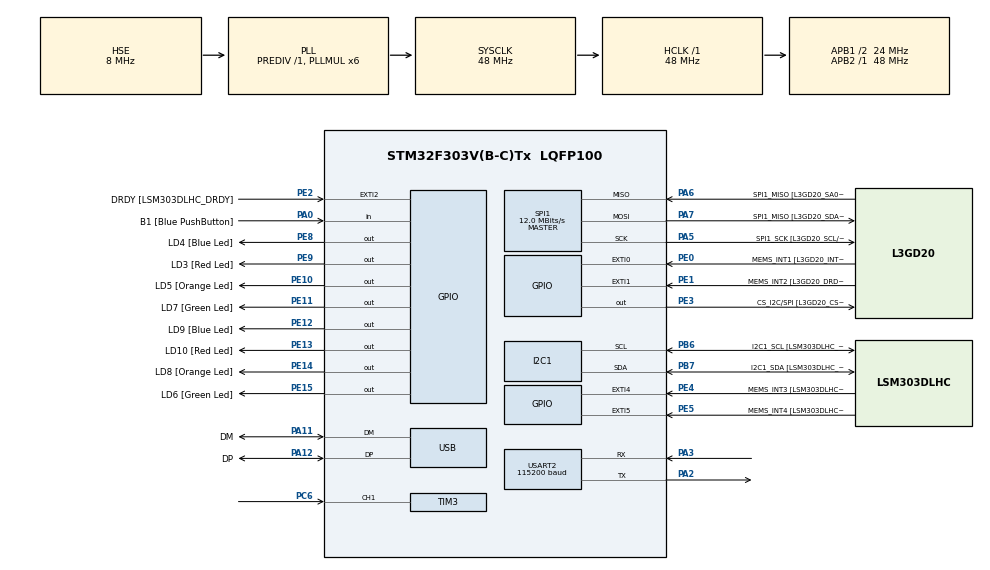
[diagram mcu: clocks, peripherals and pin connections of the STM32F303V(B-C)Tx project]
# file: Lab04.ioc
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I2C1.Timing=0x00201D2B
I2C1.Timing-I2C=0x2000090E
Mcu.Family=STM32F3
Mcu.Name=STM32F303V(B-C)Tx
Mcu.Package=LQFP100
NVIC.PriorityGroup=NVIC_PRIORITYGROUP_0
NVIC.TIM2_IRQn=true\:0\:0\:false\:false\:true\:true\:true\:true
NVIC.TIM3_IRQn=true\:0\:0\:false\:false\:true\:true\:true\:true
PA0.GPIO_Label=B1 [Blue PushButton]
PA0.Signal=GPIO_Input
PA11.GPIO_Label=DM
PA11.Mode=Device
PA11.Signal=USB_DM
PA12.GPIO_Label=DP
PA12.Mode=Device
PA12.Signal=USB_DP
PA13.GPIO_Label=SWDIO
PA13.Mode=Serial_Wire
PA13.Signal=SYS_JTMS-SWDIO
PA14.GPIO_Label=SWCLK
PA14.Mode=Serial_Wire
PA14.Signal=SYS_JTCK-SWCLK
PA2.Mode=Asynchronous
PA2.Signal=USART2_TX
PA3.Mode=Asynchronous
PA3.Signal=USART2_RX
PA5.GPIO_Label=SPI1_SCK [L3GD20_SCL/SPC]
PA5.Mode=Full_Duplex_Master
PA5.Signal=SPI1_SCK
PA6.GPIO_Label=SPI1_MISO [L3GD20_SA0/SDO]
PA6.Mode=Full_Duplex_Master
PA6.Signal=SPI1_MISO
PA7.GPIO_Label=SPI1_MISO [L3GD20_SDA/SDI/SDO]
PA7.Mode=Full_Duplex_Master
PA7.Signal=SPI1_MOSI
PB3.GPIO_Label=SWO
PB3.Signal=SYS_JTDO-TRACESWO
PB6.GPIO_Label=I2C1_SCL [LSM303DLHC_SCL]
PB6.GPIO_Pu=GPIO_PULLUP
PB6.Mode=I2C
PB6.Signal=I2C1_SCL
PB7.GPIO_Label=I2C1_SDA [LSM303DLHC_SDA]
PB7.GPIO_Pu=GPIO_PULLUP
PB7.Mode=I2C
PB7.Signal=I2C1_SDA
PC14-OSC32_IN.GPIO_Label=OSC32_IN
PC14-OSC32_IN.Signal=RCC_OSC32_IN
PC15-OSC32_OUT.GPIO_Label=OSC32_OUT
PC15-OSC32_OUT.Signal=RCC_OSC32_OUT
PC6.Signal=S_TIM3_CH1
PE0.GPIO_Label=MEMS_INT1 [L3GD20_INT1]
PE0.GPIO_ModeDefaultEXTI=GPIO_MODE_EVT_RISING
PE0.Signal=GPXTI0
PE1.GPIO_Label=MEMS_INT2 [L3GD20_DRDY/INT2]
PE1.GPIO_ModeDefaultEXTI=GPIO_MODE_EVT_RISING
PE1.Signal=GPXTI1
PE10.GPIO_Label=LD5 [Orange Led]
PE10.Signal=GPIO_Output
PE11.GPIO_Label=LD7 [Green Led]
PE11.Signal=GPIO_Output
PE12.GPIO_Label=LD9 [Blue Led]
PE12.Signal=GPIO_Output
PE13.GPIO_Label=LD10 [Red Led]
PE13.Signal=GPIO_Output
PE14.GPIO_Label=LD8 [Orange Led]
PE14.Signal=GPIO_Output
PE15.GPIO_Label=LD6 [Green Led]
PE15.Signal=GPIO_Output
PE2.GPIO_Label=DRDY [LSM303DLHC_DRDY]
PE2.GPIO_ModeDefaultEXTI=GPIO_MODE_EVT_RISING
PE2.Signal=GPXTI2
PE3.GPIO_Label=CS_I2C/SPI [L3GD20_CS_I2C/SPI]
PE3.Signal=GPIO_Output
PE4.GPIO_Label=MEMS_INT3 [LSM303DLHC_INT1]
PE4.GPIO_ModeDefaultEXTI=GPIO_MODE_EVT_RISING
PE4.Signal=GPXTI4
PE5.GPIO_Label=MEMS_INT4 [LSM303DLHC_INT2]
PE5.GPIO_ModeDefaultEXTI=GPIO_MODE_EVT_RISING
PE5.Signal=GPXTI5
PE8.GPIO_Label=LD4 [Blue Led]
PE8.Signal=GPIO_Output
PE9.GPIO_Label=LD3 [Red Led]
PE9.Signal=GPIO_Output
PF0-OSC_IN.GPIO_Label=OSC_IN
PF0-OSC_IN.Mode=HSE-External-Clock-Source
PF0-OSC_IN.Signal=RCC_OSC_IN
PF1-OSC_OUT.GPIO_Label=OSC_OUT
PF1-OSC_OUT.Signal=RCC_OSC_OUT
ProjectManager.HeapSize=0x200
ProjectManager.StackSize=0x400
ProjectManager.TargetToolchain=CMake
RCC.AHBFreq_Value=48000000
RCC.APB1CLKDivider=RCC_HCLK_DIV2
RCC.APB1Freq_Value=24000000
RCC.APB1TimFreq_Value=48000000
RCC.APB2Freq_Value=48000000
RCC.APB2TimFreq_Value=48000000
RCC.CortexFreq_Value=48000000
RCC.HCLKFreq_Value=48000000
RCC.HSE_VALUE=8000000
RCC.HSI_VALUE=8000000
RCC.LSE_VALUE=32768
RCC.PLLMUL=RCC_PLL_MUL6
RCC.SYSCLKFreq_VALUE=48000000
RCC.SYSCLKSourceVirtual=RCC_SYSCLKSOURCE_PLLCLK
RCC.USBFreq_Value=48000000
SH.S_TIM3_CH1.0=TIM3_CH1,Input_Capture1_from_TI1
SPI1.BaudRatePrescaler=SPI_BAUDRATEPRESCALER_4
SPI1.BaudRatePrescaler-Full_Duplex_Master=SPI_BAUDRATEPRESCALER_2
SPI1.CalculateBaudRate=12.0 MBits/s
SPI1.CalculateBaudRate-Full_Duplex_Master=24.0 MBits/s
SPI1.Direction=SPI_DIRECTION_2LINES
SPI1.Mode=SPI_MODE_MASTER
SPI1.Mode-Full_Duplex_Master=SPI_MODE_MASTER
SPI1.VirtualType=VM_MASTER
TIM2.Period=0
TIM2.Prescaler=47999
TIM3.Channel-Input_Capture1_from_TI1=TIM_CHANNEL_1
TIM3.Period=0xFFFF
TIM3.Prescaler=0
USART2.BaudRate=115200
USART2.VirtualMode-Asynchronous=VM_ASYNC
VP_TIM2_VS_ClockSourceINT.Mode=Internal
board=STM32F3DISCOVERY

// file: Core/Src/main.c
/* USER CODE BEGIN Header */
/**
  ******************************************************************************
  * @file           : main.c
  * @brief          : Main program body
  ******************************************************************************
  * @attention
  *
  * Copyright (c) 2026 STMicroelectronics. All rights reserved.
  * This software is licensed under terms in LICENSE file.
  *
  ******************************************************************************
  */
/* USER CODE END Header */
#include "main.h"

/* USER CODE BEGIN Includes */
#include <stdio.h>
#include <string.h>

/* NOTE: If you want to use %.2f formatting for floats in sprintf:
 * Go to Project Properties -> C/C++ Build -> Settings -> MCU Settings
 * Check "Use float with printf from newlib-nano"
 * This will increase code size by ~8KB
 *
 * Alternative: Use the integer conversion method shown in this code
 *
 * IMPORTANT FOR INPUT CAPTURE:
 * To reduce noise on the input signal:
 * 1. In CubeMX, set TIM3 Channel 1 Input Capture Filter to 8 or 15
 * 2. This filters out glitches shorter than N timer clock cycles
 * 3. Or add a hardware capacitor (e.g., 100nF) on the input pin
 */
/* USER CODE END Includes */

I2C_HandleTypeDef hi2c1;

SPI_HandleTypeDef hspi1;

TIM_HandleTypeDef htim2;
TIM_HandleTypeDef htim3;

UART_HandleTypeDef huart2;

PCD_HandleTypeDef hpcd_USB_FS;

/* USER CODE BEGIN PV */
/* -------------------- TASK 3: 3 LEDs at different rates -------------------- */
// uint16_t countA = 0;  // LED1 (Red, PE9)
// uint16_t countB = 0;  // LED2 (Green, PE10)
// uint16_t countC = 0;  // LED3 (Blue, PE11)

// #define THRESHOLD_A 500   // 1 Hz → toggle every 500 ms
// #define THRESHOLD_B 200   // 2.5 Hz → toggle every 200 ms
// #define THRESHOLD_C 100   // 5 Hz → toggle every 100 ms
/* -------------------------------------------------------------------------- */

/* -------------------- TASK 4: Frequency Measurement -------------------- */
uint32_t last_capture = 0;
uint32_t period = 0;
float frequency = 0.0;
uint8_t overflow_count = 0;
uint8_t valid_measurement = 0;
uint8_t measurement_count = 0;  // Counter to reduce UART transmissions

// Timer clock frequency calculation:
// APB1 clock = 24 MHz, but timer clock = APB1 × 2 = 48 MHz (due to APB prescaler rule)
// TIM3 Prescaler = 1 (set in CubeMX), so effective divider = Prescaler + 1 = 2
// Effective Timer Clock = 48 MHz / 2 = 24 MHz
#define TIMER_CLOCK_FREQ 48000000  // Base timer clock (before prescaler)
#define TIM3_PRESCALER 1            // Prescaler value (set in CubeMX)

char uart_buffer[100];
/* -------------------------------------------------------------------------- */

/* USER CODE END PV */

void SystemClock_Config(void);
static void MX_GPIO_Init(void);
static void MX_I2C1_Init(void);
static void MX_SPI1_Init(void);
static void MX_TIM2_Init(void);
static void MX_USB_PCD_Init(void);
static void MX_TIM3_Init(void);
static void MX_USART2_UART_Init(void);

/* USER CODE BEGIN 0 */

/* -------------------- TASK 1: Custom Delay Function -----------------------------
void delay_ms(uint32_t ms){
    __HAL_TIM_SET_COUNTER(&htim2, 0);
    HAL_TIM_Base_Start(&htim2);
    while (__HAL_TIM_GET_COUNTER(&htim2) < ms);
    HAL_TIM_Base_Stop(&htim2);
}
---------------------------------------------------------------------------*/

/* -------------------- TASK 2: Simple LED Toggle with Timer Interrupt---------------------
void HAL_TIM_PeriodElapsedCallback(TIM_HandleTypeDef *htim)
{
    if(htim->Instance == TIM2)
    {
        HAL_GPIO_TogglePin(GPIOE, GPIO_PIN_9); // Red LED
    }
}
---------------------------------------------------------------------------*/

/* -------------------- TASK 3: Multiple LEDs at Different Rates------------- */
// void HAL_TIM_PeriodElapsedCallback(TIM_HandleTypeDef *htim)
// {
//     if(htim->Instance == TIM2)
//     {
//         // Increment software counters
//         countA++;
//         countB++;
//         countC++;

//         // LED1: PE9 (Red)
//         if(countA >= THRESHOLD_A)
//         {
//             HAL_GPIO_TogglePin(GPIOE, GPIO_PIN_9);
//             countA = 0;
//         }

//         // LED2: PE10 (Green)
//         if(countB >= THRESHOLD_B)
//         {
//             HAL_GPIO_TogglePin(GPIOE, GPIO_PIN_10);
//             countB = 0;
//         }

//         // LED3: PE11 (Blue)
//         if(countC >= THRESHOLD_C)
//         {
//             HAL_GPIO_TogglePin(GPIOE, GPIO_PIN_11);
//             countC = 0;
//         }
//     }
// }
/* -------------------------------------------------------------------------- */

/* -------------------------------TASK 4: Frequency Measurement--------------------------------------- */

/**
  * @brief  Input Capture callback for frequency measurement
  * @param  htim: Timer handle
  * @retval None
  */
void HAL_TIM_IC_CaptureCallback(TIM_HandleTypeDef *htim)
{
    if(htim->Instance == TIM3)
    {
        if(htim->Channel == HAL_TIM_ACTIVE_CHANNEL_1)
        {
            // Read the captured value
            uint32_t current_capture = HAL_TIM_ReadCapturedValue(htim, TIM_CHANNEL_1);

            // Calculate period (handle overflow)
            if(current_capture >= last_capture)
            {
                period = current_capture - last_capture;
            }
            else
            {
                // Timer overflow occurred
                period = (0xFFFF - last_capture) + current_capture + 1;
            }

            // Update last capture value
            last_capture = current_capture;

            // Calculate frequency
            // Frequency = Timer_Clock / [(Prescaler + 1) × Period]
            if(period > 0)
            {
                frequency = (float)TIMER_CLOCK_FREQ / ((float)(TIM3_PRESCALER + 1) * (float)period);
                valid_measurement = 1;
            }

            // Reset overflow counter
            overflow_count = 0;
        }
    }
}

/**
  * @brief  Timer overflow callback to detect very slow signals
  * @param  htim: Timer handle
  * @retval None
  */
void HAL_TIM_PeriodElapsedCallback(TIM_HandleTypeDef *htim)
{
    if(htim->Instance == TIM3)
    {
        overflow_count++;

        // If too many overflows, signal is too slow or not present
        if(overflow_count > 10)
        {
            frequency = 0.0;
            period = 0;
            valid_measurement = 0;
        }
    }
}

/* -------------------------------------------------------------------------- */

/* USER CODE END 0 */

int main(void)
{

  /* MCU Configuration--------------------------------------------------------*/

  /* Reset of all peripherals, Initializes the Flash interface and the Systick. */
  HAL_Init();

  /* Configure the system clock */
  SystemClock_Config();

  /* Initialize all configured peripherals */
  MX_GPIO_Init();
  MX_I2C1_Init();
  MX_SPI1_Init();
  MX_TIM2_Init();
  MX_USB_PCD_Init();
  MX_TIM3_Init();
  MX_USART2_UART_Init();
  /* USER CODE BEGIN 2 */

  /* -------------------- TASK 4: Start Input Capture Timer -------------------- */
  HAL_TIM_IC_Start_IT(&htim3, TIM_CHANNEL_1);
  HAL_TIM_Base_Start_IT(&htim3);

  // Initialization message — no variables here, just a string
  sprintf(uart_buffer, "Frequency Measurement Started\r\n");
  HAL_UART_Transmit(&huart2, (uint8_t*)uart_buffer, strlen(uart_buffer), HAL_MAX_DELAY);
  /* -------------------------------------------------------------------------- */

  /* USER CODE END 2 */

  /* Infinite loop */
  while (1)
  {

    /* USER CODE BEGIN 3 */

    /* -------------------- TASK 4: Display Frequency Measurement -------------------- */
    if(valid_measurement)
    {
        measurement_count++;

        // At high frequencies, only transmit every Nth measurement to avoid blocking
        // Adjust this value: 1 = transmit every time, 10 = every 10th measurement
        uint8_t transmit_interval = 1;

        // Adaptive transmission rate based on frequency
        if(frequency > 100000) {
            transmit_interval = 100;  // Every 100th measurement above 100kHz
        } else if(frequency > 10000) {
            transmit_interval = 10;   // Every 10th measurement above 10kHz
        }

        if(measurement_count >= transmit_interval)
        {
            measurement_count = 0;

            // Convert frequency to integer and decimal parts for display
            uint32_t freq_int = (uint32_t)frequency;
            uint32_t freq_dec = (uint32_t)((frequency - freq_int) * 100);

            // Send frequency data via UART
            sprintf(uart_buffer, "Period: %lu ticks, Frequency: %lu.%02lu Hz\r\n",
                    period, freq_int, freq_dec);
            HAL_UART_Transmit(&huart2, (uint8_t*)uart_buffer, strlen(uart_buffer), HAL_MAX_DELAY);

            // Optional: Toggle LED to indicate measurement
            HAL_GPIO_TogglePin(GPIOE, GPIO_PIN_9);  // Red LED
        }

        // Reset flag (IMPORTANT: do this last, after transmission)
        valid_measurement = 0;
    }

    // No delay here - continuous monitoring
    /* -------------------------------------------------------------------------- */
  }
  /* USER CODE END 3 */
}

void SystemClock_Config(void)
{
  RCC_OscInitTypeDef RCC_OscInitStruct = {0};
  RCC_ClkInitTypeDef RCC_ClkInitStruct = {0};
  RCC_PeriphCLKInitTypeDef PeriphClkInit = {0};

  /** Initializes the RCC Oscillators according to the specified parameters
  * in the RCC_OscInitTypeDef structure.
  */
  RCC_OscInitStruct.OscillatorType = RCC_OSCILLATORTYPE_HSI|RCC_OSCILLATORTYPE_HSE;
  RCC_OscInitStruct.HSEState = RCC_HSE_BYPASS;
  RCC_OscInitStruct.HSEPredivValue = RCC_HSE_PREDIV_DIV1;
  RCC_OscInitStruct.HSIState = RCC_HSI_ON;
  RCC_OscInitStruct.HSICalibrationValue = RCC_HSICALIBRATION_DEFAULT;
  RCC_OscInitStruct.PLL.PLLState = RCC_PLL_ON;
  RCC_OscInitStruct.PLL.PLLSource = RCC_PLLSOURCE_HSE;
  RCC_OscInitStruct.PLL.PLLMUL = RCC_PLL_MUL6;
  if (HAL_RCC_OscConfig(&RCC_OscInitStruct) != HAL_OK)
  {
    Error_Handler();
  }

  /** Initializes the CPU, AHB and APB buses clocks
  */
  RCC_ClkInitStruct.ClockType = RCC_CLOCKTYPE_HCLK|RCC_CLOCKTYPE_SYSCLK
                              |RCC_CLOCKTYPE_PCLK1|RCC_CLOCKTYPE_PCLK2;
  RCC_ClkInitStruct.SYSCLKSource = RCC_SYSCLKSOURCE_PLLCLK;
  RCC_ClkInitStruct.AHBCLKDivider = RCC_SYSCLK_DIV1;
  RCC_ClkInitStruct.APB1CLKDivider = RCC_HCLK_DIV2;
  RCC_ClkInitStruct.APB2CLKDivider = RCC_HCLK_DIV1;

  if (HAL_RCC_ClockConfig(&RCC_ClkInitStruct, FLASH_LATENCY_1) != HAL_OK)
  {
    Error_Handler();
  }
  PeriphClkInit.PeriphClockSelection = RCC_PERIPHCLK_USB|RCC_PERIPHCLK_USART2
                              |RCC_PERIPHCLK_I2C1;
  PeriphClkInit.Usart2ClockSelection = RCC_USART2CLKSOURCE_PCLK1;
  PeriphClkInit.I2c1ClockSelection = RCC_I2C1CLKSOURCE_HSI;
  PeriphClkInit.USBClockSelection = RCC_USBCLKSOURCE_PLL;
  if (HAL_RCCEx_PeriphCLKConfig(&PeriphClkInit) != HAL_OK)
  {
    Error_Handler();
  }
}

static void MX_I2C1_Init(void)
{

  hi2c1.Instance = I2C1;
  hi2c1.Init.Timing = 0x00201D2B;
  hi2c1.Init.OwnAddress1 = 0;
  hi2c1.Init.AddressingMode = I2C_ADDRESSINGMODE_7BIT;
  hi2c1.Init.DualAddressMode = I2C_DUALADDRESS_DISABLE;
  hi2c1.Init.OwnAddress2 = 0;
  hi2c1.Init.OwnAddress2Masks = I2C_OA2_NOMASK;
  hi2c1.Init.GeneralCallMode = I2C_GENERALCALL_DISABLE;
  hi2c1.Init.NoStretchMode = I2C_NOSTRETCH_DISABLE;
  if (HAL_I2C_Init(&hi2c1) != HAL_OK)
  {
    Error_Handler();
  }

  /** Configure Analogue filter
  */
  if (HAL_I2CEx_ConfigAnalogFilter(&hi2c1, I2C_ANALOGFILTER_ENABLE) != HAL_OK)
  {
    Error_Handler();
  }

  /** Configure Digital filter
  */
  if (HAL_I2CEx_ConfigDigitalFilter(&hi2c1, 0) != HAL_OK)
  {
    Error_Handler();
  }

}

static void MX_SPI1_Init(void)
{

  /* SPI1 parameter configuration*/
  hspi1.Instance = SPI1;
  hspi1.Init.Mode = SPI_MODE_MASTER;
  hspi1.Init.Direction = SPI_DIRECTION_2LINES;
  hspi1.Init.DataSize = SPI_DATASIZE_4BIT;
  hspi1.Init.CLKPolarity = SPI_POLARITY_LOW;
  hspi1.Init.CLKPhase = SPI_PHASE_1EDGE;
  hspi1.Init.NSS = SPI_NSS_SOFT;
  hspi1.Init.BaudRatePrescaler = SPI_BAUDRATEPRESCALER_4;
  hspi1.Init.FirstBit = SPI_FIRSTBIT_MSB;
  hspi1.Init.TIMode = SPI_TIMODE_DISABLE;
  hspi1.Init.CRCCalculation = SPI_CRCCALCULATION_DISABLE;
  hspi1.Init.CRCPolynomial = 7;
  hspi1.Init.CRCLength = SPI_CRC_LENGTH_DATASIZE;
  hspi1.Init.NSSPMode = SPI_NSS_PULSE_ENABLE;
  if (HAL_SPI_Init(&hspi1) != HAL_OK)
  {
    Error_Handler();
  }

}

static void MX_TIM2_Init(void)
{

  TIM_ClockConfigTypeDef sClockSourceConfig = {0};
  TIM_MasterConfigTypeDef sMasterConfig = {0};

  htim2.Instance = TIM2;
  htim2.Init.Prescaler = 47999;
  htim2.Init.CounterMode = TIM_COUNTERMODE_UP;
  htim2.Init.Period = 0;
  htim2.Init.ClockDivision = TIM_CLOCKDIVISION_DIV1;
  htim2.Init.AutoReloadPreload = TIM_AUTORELOAD_PRELOAD_DISABLE;
  if (HAL_TIM_Base_Init(&htim2) != HAL_OK)
  {
    Error_Handler();
  }
  sClockSourceConfig.ClockSource = TIM_CLOCKSOURCE_INTERNAL;
  if (HAL_TIM_ConfigClockSource(&htim2, &sClockSourceConfig) != HAL_OK)
  {
    Error_Handler();
  }
  sMasterConfig.MasterOutputTrigger = TIM_TRGO_RESET;
  sMasterConfig.MasterSlaveMode = TIM_MASTERSLAVEMODE_DISABLE;
  if (HAL_TIMEx_MasterConfigSynchronization(&htim2, &sMasterConfig) != HAL_OK)
  {
    Error_Handler();
  }

}

static void MX_TIM3_Init(void)
{

  TIM_MasterConfigTypeDef sMasterConfig = {0};
  TIM_IC_InitTypeDef sConfigIC = {0};

  htim3.Instance = TIM3;
  htim3.Init.Prescaler = 1;  // Changed to 1 for extended range
  htim3.Init.CounterMode = TIM_COUNTERMODE_UP;
  htim3.Init.Period = 0xFFFF;
  htim3.Init.ClockDivision = TIM_CLOCKDIVISION_DIV1;
  htim3.Init.AutoReloadPreload = TIM_AUTORELOAD_PRELOAD_DISABLE;
  if (HAL_TIM_IC_Init(&htim3) != HAL_OK)
  {
    Error_Handler();
  }
  sMasterConfig.MasterOutputTrigger = TIM_TRGO_RESET;
  sMasterConfig.MasterSlaveMode = TIM_MASTERSLAVEMODE_DISABLE;
  if (HAL_TIMEx_MasterConfigSynchronization(&htim3, &sMasterConfig) != HAL_OK)
  {
    Error_Handler();
  }
  sConfigIC.ICPolarity = TIM_INPUTCHANNELPOLARITY_RISING;
  sConfigIC.ICSelection = TIM_ICSELECTION_DIRECTTI;
  sConfigIC.ICPrescaler = TIM_ICPSC_DIV1;
  sConfigIC.ICFilter = 0;
  if (HAL_TIM_IC_ConfigChannel(&htim3, &sConfigIC, TIM_CHANNEL_1) != HAL_OK)
  {
    Error_Handler();
  }

}

static void MX_USART2_UART_Init(void)
{

  huart2.Instance = USART2;
  huart2.Init.BaudRate = 115200;
  huart2.Init.WordLength = UART_WORDLENGTH_8B;
  huart2.Init.StopBits = UART_STOPBITS_1;
  huart2.Init.Parity = UART_PARITY_NONE;
  huart2.Init.Mode = UART_MODE_TX_RX;
  huart2.Init.HwFlowCtl = UART_HWCONTROL_NONE;
  huart2.Init.OverSampling = UART_OVERSAMPLING_16;
  huart2.Init.OneBitSampling = UART_ONE_BIT_SAMPLE_DISABLE;
  huart2.AdvancedInit.AdvFeatureInit = UART_ADVFEATURE_NO_INIT;
  if (HAL_UART_Init(&huart2) != HAL_OK)
  {
    Error_Handler();
  }

}

static void MX_USB_PCD_Init(void)
{

  hpcd_USB_FS.Instance = USB;
  hpcd_USB_FS.Init.dev_endpoints = 8;
  hpcd_USB_FS.Init.speed = PCD_SPEED_FULL;
  hpcd_USB_FS.Init.phy_itface = PCD_PHY_EMBEDDED;
  hpcd_USB_FS.Init.low_power_enable = DISABLE;
  hpcd_USB_FS.Init.battery_charging_enable = DISABLE;
  if (HAL_PCD_Init(&hpcd_USB_FS) != HAL_OK)
  {
    Error_Handler();
  }

}

static void MX_GPIO_Init(void)
{
  GPIO_InitTypeDef GPIO_InitStruct = {0};

  /* GPIO Ports Clock Enable */
  __HAL_RCC_GPIOE_CLK_ENABLE();
  __HAL_RCC_GPIOC_CLK_ENABLE();
  __HAL_RCC_GPIOF_CLK_ENABLE();
  __HAL_RCC_GPIOA_CLK_ENABLE();
  __HAL_RCC_GPIOB_CLK_ENABLE();

  /*Configure GPIO pin Output Level */
  HAL_GPIO_WritePin(GPIOE, CS_I2C_SPI_Pin|LD4_Pin|LD3_Pin|LD5_Pin
                          |LD7_Pin|LD9_Pin|LD10_Pin|LD8_Pin
                          |LD6_Pin, GPIO_PIN_RESET);

  /*Configure GPIO pins : DRDY_Pin MEMS_INT3_Pin MEMS_INT4_Pin MEMS_INT1_Pin
                           MEMS_INT2_Pin */
  GPIO_InitStruct.Pin = DRDY_Pin|MEMS_INT3_Pin|MEMS_INT4_Pin|MEMS_INT1_Pin
                          |MEMS_INT2_Pin;
  GPIO_InitStruct.Mode = GPIO_MODE_EVT_RISING;
  GPIO_InitStruct.Pull = GPIO_NOPULL;
  HAL_GPIO_Init(GPIOE, &GPIO_InitStruct);

  /*Configure GPIO pins : CS_I2C_SPI_Pin LD4_Pin LD3_Pin LD5_Pin
                           LD7_Pin LD9_Pin LD10_Pin LD8_Pin
                           LD6_Pin */
  GPIO_InitStruct.Pin = CS_I2C_SPI_Pin|LD4_Pin|LD3_Pin|LD5_Pin
                          |LD7_Pin|LD9_Pin|LD10_Pin|LD8_Pin
                          |LD6_Pin;
  GPIO_InitStruct.Mode = GPIO_MODE_OUTPUT_PP;
  GPIO_InitStruct.Pull = GPIO_NOPULL;
  GPIO_InitStruct.Speed = GPIO_SPEED_FREQ_LOW;
  HAL_GPIO_Init(GPIOE, &GPIO_InitStruct);

  /*Configure GPIO pin : B1_Pin */
  GPIO_InitStruct.Pin = B1_Pin;
  GPIO_InitStruct.Mode = GPIO_MODE_INPUT;
  GPIO_InitStruct.Pull = GPIO_NOPULL;
  HAL_GPIO_Init(B1_GPIO_Port, &GPIO_InitStruct);

}

void Error_Handler(void)
{
  __disable_irq();
  while (1)
  {
  }
}
